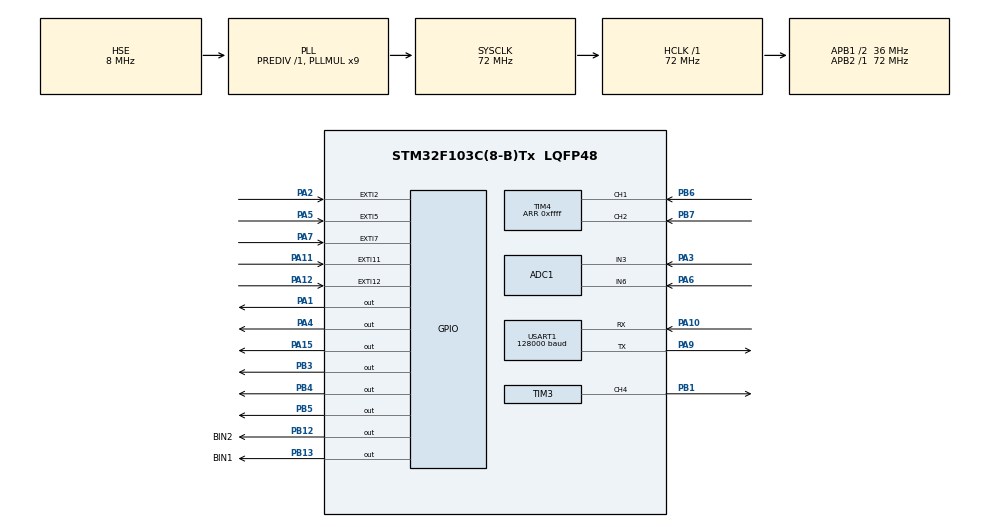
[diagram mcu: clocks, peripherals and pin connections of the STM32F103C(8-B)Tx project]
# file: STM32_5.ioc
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Mcu.Family=STM32F1
PA2.GPIO_PuPd=GPIO_PULLUP
Dma.USART1_TX.2.Direction=DMA_MEMORY_TO_PERIPH
ADC1.Rank-14\#ChannelRegularConversion=5
NVIC.DMA1_Channel5_IRQn=true\:0\:0\:false\:false\:true\:false\:true
ADC1.ContinuousConvMode=ENABLE
ADC1.Channel-17\#ChannelRegularConversion=ADC_CHANNEL_3
USART1.BaudRate=128000
USART1.WordLength=WORDLENGTH_8B
TIM4.EncoderMode=TIM_ENCODERMODE_TI12
ADC1.Rank-17\#ChannelRegularConversion=8
ADC1.SamplingTime-21\#ChannelRegularConversion=ADC_SAMPLETIME_239CYCLES_5
NVIC.TIM1_UP_IRQn=true\:0\:0\:true\:false\:true\:true\:true
PA12.GPIO_ModeDefaultEXTI=GPIO_MODE_IT_FALLING
ADC1.SamplingTime-24\#ChannelRegularConversion=ADC_SAMPLETIME_239CYCLES_5
PB13.GPIO_Label=BIN1
ADC1.SamplingTime-12\#ChannelRegularConversion=ADC_SAMPLETIME_239CYCLES_5
PB13.Signal=GPIO_Output
ADC1.Channel-14\#ChannelRegularConversion=ADC_CHANNEL_3
TIM3.Channel-PWM\ Generation4\ CH4=TIM_CHANNEL_4
TIM4.TIM_MasterOutputTrigger=TIM_TRGO_UPDATE
RCC.SYSCLKSource=RCC_SYSCLKSOURCE_PLLCLK
ProjectManager.StackSize=0x400
PD1-OSC_OUT.Signal=RCC_OSC_OUT
PA12.Signal=GPXTI12
TIM1.Prescaler=7199
ADC1.Rank-23\#ChannelRegularConversion=14
ADC1.Rank-11\#ChannelRegularConversion=2
RCC.HCLKFreq_Value=72000000
SH.ADCx_IN3.0=ADC1_IN3,IN3
RCC.APB2TimFreq_Value=72000000
TIM3.Period=7199
PB6.Signal=S_TIM4_CH1
Dma.ADC1.0.Direction=DMA_PERIPH_TO_MEMORY
ADC1.Rank-21\#ChannelRegularConversion=12
Dma.USART1_RX.1.MemInc=DMA_MINC_ENABLE
Dma.ADC1.0.MemDataAlignment=DMA_MDATAALIGN_WORD
RCC.AHBFreq_Value=72000000
NVIC.EXTI15_10_IRQn=true\:2\:0\:true\:false\:true\:true\:true
Dma.USART1_RX.1.PeriphDataAlignment=DMA_PDATAALIGN_BYTE
ADC1.Rank-20\#ChannelRegularConversion=11
RCC.PLLMUL=RCC_PLL_MUL9
PB12.GPIO_Label=BIN2
PC14-OSC32_IN.Mode=LSE-External-Oscillator
ADC1.Channel-19\#ChannelRegularConversion=ADC_CHANNEL_3
PA14.Mode=Serial_Wire
TIM3.Prescaler=0
PA5.GPIO_PuPd=GPIO_PULLUP
ADC1.Rank-19\#ChannelRegularConversion=10
Dma.ADC1.0.PeriphInc=DMA_PINC_DISABLE
SH.S_TIM4_CH2.0=TIM4_CH2,Encoder_Interface
Dma.USART1_TX.2.PeriphDataAlignment=DMA_PDATAALIGN_BYTE
PB7.Signal=S_TIM4_CH2
TIM4.Period=0xffff
Dma.USART1_TX.2.MemDataAlignment=DMA_MDATAALIGN_BYTE
ADC1.Channel-15\#ChannelRegularConversion=ADC_CHANNEL_3
VP_TIM1_VS_ClockSourceINT.Mode=Internal
ADC1.Rank-15\#ChannelRegularConversion=6
Dma.USART1_RX.1.Mode=DMA_CIRCULAR
ADC1.SamplingTime-23\#ChannelRegularConversion=ADC_SAMPLETIME_239CYCLES_5
Mcu.Package=LQFP48
ADC1.SamplingTime-11\#ChannelRegularConversion=ADC_SAMPLETIME_239CYCLES_5
PB1.Signal=S_TIM3_CH4
PA6.Signal=ADCx_IN6
ADC1.Channel-23\#ChannelRegularConversion=ADC_CHANNEL_3
ADC1.SamplingTime-13\#ChannelRegularConversion=ADC_SAMPLETIME_239CYCLES_5
TIM4.IC1Polarity=TIM_ICPOLARITY_RISING
ADC1.Channel-11\#ChannelRegularConversion=ADC_CHANNEL_6
PA10.Signal=USART1_RX
PA15.Signal=GPIO_Output
ADC1.SamplingTime-17\#ChannelRegularConversion=ADC_SAMPLETIME_239CYCLES_5
ADC1.Channel-21\#ChannelRegularConversion=ADC_CHANNEL_3
TIM4.IC1Filter=8
Dma.USART1_RX.1.PeriphInc=DMA_PINC_DISABLE
ADC1.SamplingTime-15\#ChannelRegularConversion=ADC_SAMPLETIME_239CYCLES_5
SH.S_TIM4_CH1.0=TIM4_CH1,Encoder_Interface
Dma.Request2=USART1_TX
Dma.Request1=USART1_RX
RCC.APB1TimFreq_Value=72000000
TIM1.Period=49
Dma.USART1_RX.1.Priority=DMA_PRIORITY_LOW
NVIC.DMA1_Channel4_IRQn=true\:0\:0\:false\:false\:true\:false\:true
NVIC.USART1_IRQn=true\:0\:0\:false\:false\:true\:true\:true
PA12.GPIO_PuPd=GPIO_PULLUP
Dma.Request0=ADC1
PB4.Signal=GPIO_Output
ADC1.SamplingTime-19\#ChannelRegularConversion=ADC_SAMPLETIME_239CYCLES_5
PA3.Signal=ADCx_IN3
ADC1.Channel-10\#ChannelRegularConversion=ADC_CHANNEL_3
RCC.PLLSourceVirtual=RCC_PLLSOURCE_HSE
PC15-OSC32_OUT.Mode=LSE-External-Oscillator
Dma.USART1_RX.1.Instance=DMA1_Channel5
PA5.GPIO_ModeDefaultEXTI=GPIO_MODE_IT_FALLING
TIM4.AutoReloadPreload=TIM_AUTORELOAD_PRELOAD_ENABLE
Dma.ADC1.0.Instance=DMA1_Channel1
Dma.USART1_RX.1.MemDataAlignment=DMA_MDATAALIGN_BYTE
ADC1.Rank-22\#ChannelRegularConversion=13
PD1-OSC_OUT.Mode=HSE-External-Oscillator
TIM4.CounterMode=TIM_COUNTERMODE_DOWN
PA10.Mode=Asynchronous
ADC1.Rank-10\#ChannelRegularConversion=1
Dma.USART1_TX.2.MemInc=DMA_MINC_ENABLE
TIM3.AutoReloadPreload=TIM_AUTORELOAD_PRELOAD_ENABLE
ADC1.SamplingTime-16\#ChannelRegularConversion=ADC_SAMPLETIME_239CYCLES_5
SH.ADCx_IN6.0=ADC1_IN6,IN6
ADC1.Channel-22\#ChannelRegularConversion=ADC_CHANNEL_3
ADC1.Rank-18\#ChannelRegularConversion=9
PA7.GPIO_ModeDefaultEXTI=GPIO_MODE_IT_FALLING
ADC1.DiscontinuousConvMode=DISABLE
TIM4.IC2Filter=8
PD0-OSC_IN.Signal=RCC_OSC_IN
TIM4.TIM_MasterSlaveMode=TIM_MASTERSLAVEMODE_DISABLE
ADC1.Channel-13\#ChannelRegularConversion=ADC_CHANNEL_3
ADC1.SamplingTime-25\#ChannelRegularConversion=ADC_SAMPLETIME_239CYCLES_5
RCC.APB1CLKDivider=RCC_HCLK_DIV2
PC14-OSC32_IN.Signal=RCC_OSC32_IN
ADC1.Channel-25\#ChannelRegularConversion=ADC_CHANNEL_3
ADC1.Rank-25\#ChannelRegularConversion=16
RCC.ADCPresc=RCC_ADCPCLK2_DIV6
PA13.Signal=SYS_JTMS-SWDIO
TIM1.AutoReloadPreload=TIM_AUTORELOAD_PRELOAD_ENABLE
ADC1.Rank-13\#ChannelRegularConversion=4
Dma.ADC1.0.PeriphDataAlignment=DMA_PDATAALIGN_WORD
PA9.Mode=Asynchronous
ProjectManager.TargetToolchain=STM32CubeIDE
ADC1.SamplingTime-20\#ChannelRegularConversion=ADC_SAMPLETIME_239CYCLES_5
Dma.ADC1.0.Mode=DMA_CIRCULAR
ADC1.Channel-18\#ChannelRegularConversion=ADC_CHANNEL_3
Dma.ADC1.0.Priority=DMA_PRIORITY_LOW
PA9.Signal=USART1_TX
USART1.Parity=PARITY_NONE
RCC.USBFreq_Value=72000000
PC15-OSC32_OUT.Signal=RCC_OSC32_OUT
PA1.Signal=GPIO_Output
PA7.GPIO_PuPd=GPIO_PULLUP
PD0-OSC_IN.Mode=HSE-External-Oscillator
PA5.Signal=GPXTI5
NVIC.TIM1_TRG_COM_IRQn=true\:0\:0\:true\:false\:true\:true\:true
board=custom
ADC1.Rank-12\#ChannelRegularConversion=3
ADC1.SamplingTime-14\#ChannelRegularConversion=ADC_SAMPLETIME_239CYCLES_5
ADC1.Channel-12\#ChannelRegularConversion=ADC_CHANNEL_3
RCC.APB2Freq_Value=72000000
ADC1.Channel-24\#ChannelRegularConversion=ADC_CHANNEL_3
ADC1.Channel-20\#ChannelRegularConversion=ADC_CHANNEL_3
Dma.USART1_TX.2.Priority=DMA_PRIORITY_MEDIUM
ADC1.Rank-24\#ChannelRegularConversion=15
ADC1.Channel-16\#ChannelRegularConversion=ADC_CHANNEL_3
ADC1.SamplingTime-22\#ChannelRegularConversion=ADC_SAMPLETIME_239CYCLES_5
ADC1.SamplingTime-10\#ChannelRegularConversion=ADC_SAMPLETIME_239CYCLES_5
ADC1.NbrOfConversion=16
PA13.Mode=Serial_Wire
Mcu.Name=STM32F103C(8-B)Tx
PA2.Signal=GPXTI2
Dma.USART1_TX.2.PeriphInc=DMA_PINC_DISABLE
PB3.Signal=GPIO_Output
PA4.Signal=GPIO_Output
RCC.SYSCLKFreq_VALUE=72000000
ADC1.Rank-16\#ChannelRegularConversion=7
PB5.Signal=GPIO_Output
ADC1.master=1
USART1.VirtualMode=VM_ASYNC
PA11.Signal=GPXTI11
NVIC.EXTI9_5_IRQn=true\:2\:0\:true\:false\:true\:true\:true
PA14.Signal=SYS_JTCK-SWCLK
Dma.ADC1.0.MemInc=DMA_MINC_ENABLE
ProjectManager.HeapSize=0x200
Dma.USART1_TX.2.Mode=DMA_NORMAL
PA2.GPIO_ModeDefaultEXTI=GPIO_MODE_IT_FALLING
NVIC.PriorityGroup=NVIC_PRIORITYGROUP_4
ADC1.NbrOfConversionFlag=1
Dma.USART1_TX.2.Instance=DMA1_Channel4
ADC1.EnableRegularConversion=ENABLE
Dma.USART1_RX.1.Direction=DMA_PERIPH_TO_MEMORY
NVIC.DMA1_Channel1_IRQn=true\:0\:0\:false\:false\:true\:false\:true
NVIC.TIM4_IRQn=true\:0\:0\:false\:false\:true\:true\:true
RCC.APB1Freq_Value=36000000
ADC1.SamplingTime-18\#ChannelRegularConversion=ADC_SAMPLETIME_239CYCLES_5
PB12.Signal=GPIO_Output
SH.S_TIM3_CH4.0=TIM3_CH4,PWM Generation4 CH4
PA7.Signal=GPXTI7

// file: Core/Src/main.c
/* USER CODE BEGIN Header */
/**
  ******************************************************************************
  *
  * 			CONTROL DE UN PÉNDULO INVERTIDO CIRCULAR USANDO EL
  * 					MICROCONTROLADOR STM32F103C8
  *
  ******************************************************************************
  */
/* USER CODE END Header */
#include "main.h"

/* USER CODE BEGIN Includes */
#include "oled.h"
#include "math.h"
/* USER CODE END Includes */

/* USER CODE BEGIN PD */
#define TIPO_CONTROL 1
#define LIMITE_ANGULO 700		// Angulo a partir del cual conmuta el control
#define LIMITE_GIRO 350
#define LIMITE_PWM 6000 		// Valor máximo de PWM sobre 7200 (12V).
#define LIMITE_VOLTAJE 1100		// Valor mínimo de voltaje del motor 1110 (11V)
#define Ts 0.005				// Periodo de muestreo
/* USER CODE END PD */

ADC_HandleTypeDef hadc1;
DMA_HandleTypeDef hdma_adc1;

TIM_HandleTypeDef htim1;
TIM_HandleTypeDef htim3;
TIM_HandleTypeDef htim4;

UART_HandleTypeDef huart1;
DMA_HandleTypeDef hdma_usart1_rx;
DMA_HandleTypeDef hdma_usart1_tx;

/* USER CODE BEGIN PV */

/* Parámetros del controlador formado por dos PD */
// Todas las K están multiplicadas por 7200 y divididas por 12
float KP_Pos = 61, //141, //25*1040/360
		KD_Pos = 50, //43, //600*1040/360 * 0.0250 = 15*1040/360;
		KP_Bal = 692, //592, //50*2134/180
		KD_Bal = 20.2; //14.4; //244*0.005 *2134/180 = 1.22*2134/180;
float Ki_Pos = 0;
float p_angulo = 0, p_posicion = 0.8;
/* Parámetros del controlador de realimentación de estados*/
// Todas las K están multiplicadas por 7200 y divididas por 12
float Ki = 100, K1 = 101, K3 = 46, K2 = 682, K4 = 18.2;
float param_filtro_pos = 0.956, param_filtro_ang =0;
float referencia = 0, referencia_local=0, referencia_externa=0;

/* Parámetros de configuración del controlador desde la pantalla
 	 - Menu: 		Indica la pantalla
 	 - Amplitude1: 	Incremento del valor de KP_Bal
 	 - Amplitude2: 	Incremento del valor de KD_Bal
 	 - Amplitude3:  Incremento del valor de KP_Pos
 	 - Amplitude4:  Incremento del valor de KD_Bal	*/
uint8_t Menu=1, Amplitude1=1, Amplitude2=1, Amplitude3=1, Amplitude4=1;

/* Parametros que indican el modo actual*/
uint8_t Tipo_ref;	// Indica si se aplica una rampa o un escalón
uint8_t Cuenta_diez_periodos =0;		// Cuenta si se ha repetido 10 veces Ts
uint16_t Cuenta_un_segundo;		// Cuenta si se ha repetido 1000 veces Ts
uint16_t Cuenta_cinco_segundos = 1000;// Cuenta si se ha repetido 5000 veces Ts
uint16_t VERTICAL = 3055;	// Angulo de la posición vertical
uint16_t INFERIOR;			// Angulo de la posición horizontal
uint8_t SWING_PRIMERO = 0, ORIGEN_REF = 1;
uint8_t Flag_control_motor, Flag_swing_up;	// Indican el modo de control

/* Señales medidas */
uint32_t valores_ADC[32];
float angulo_f, posicion_f, voltaje_f;

/* Señal de salida */
float PWM_motor;

/* Para la comunicación el ordenador */
float acc_integral;
float velocidad_1;
float velocidad_2;
uint8_t rxBuffer [8];
uint8_t txBuffer[29];

/* USER CODE END PV */

void SystemClock_Config(void);
static void MX_GPIO_Init(void);
static void MX_DMA_Init(void);
static void MX_USART1_UART_Init(void);
static void MX_TIM3_Init(void);
static void MX_TIM4_Init(void);
static void MX_TIM1_Init(void);
static void MX_ADC1_Init(void);
/* USER CODE BEGIN PFP */

float control_dos_PID (float, float, float);
float control_realim_estados (float, float, float);
float swing_up (float, float);

float filtro_posicion (float, float);
float filtro_angulo (float, float);
float filtro_swing (float, float);
float filtro_voltaje (float, float);
float filtro_apaga (float, float);
float filtro_media_10 (float);
float filtro_media_5 (float);
float filtro_butterworth (float, float);
float filtro_butterworth_2 (float, float);
float filtro_roc (float, float);

void poner_PWM_motor (float);
uint8_t comprueba_limites_control(void);
uint8_t comprueba_limites_swing(void);

void envia_datos_serie (float, float, float, float, float, float, float);
int click_N_Double (uint8_t);
void key(void);
void oled_show(void);
float obtener_angulo(void);
float obtener_referencia(void);

/* USER CODE END PFP */

/* USER CODE BEGIN 0 */
void HAL_TIM_PeriodElapsedCallback (TIM_HandleTypeDef *htim)
{
	/**************************************************************************
	 * Función de servicio a la interrupción del temporizador 1
	 * Ejecucion periódica cada 5ms, que el periodo de muestreo.
	**************************************************************************/
	if (htim->Instance == TIM1) {
		// Esto solo es para distinguir la interrupción de otros temporizadores,
		// si estos tienen interrupción activada.
		// Leer el valor del encoder con Timer 4 (la posicion)
		// Te devuelve un int (se debe pasar a float)
		posicion_f = (float)__HAL_TIM_GET_COUNTER(&htim4);
		// Leer el voltaje de la batería con ADC1 (CANAL 6)
		// Hay que ordenar la conversión y después esperar a que termine

		// Como hay un divisor resistivo que hay en la placa R2=10K R3=1K
		// Hay que realizar el siguiente cálculo:  VBAT= VA6·(R2+R3)/R3
		voltaje_f= ((float)valores_ADC[1])*3.3*11*100/1.0/4096;
		voltaje_f= filtro_voltaje(voltaje_f,0.8);
		// Leer el angulo con ADC1 (CANAL 3): 5 muestras
		angulo_f = obtener_angulo();
		// Obtener la referencia de posicion: local o externa
		referencia = obtener_referencia();
		// CONTROL
		if (Flag_control_motor) {
	    	if (Cuenta_un_segundo < 300) {
				Cuenta_un_segundo++;
				// Durante este tiempo está en el control agresivo
	    	}
			if (Cuenta_cinco_segundos > 0) {
				Cuenta_cinco_segundos--;
			}
	    	else if(Cuenta_un_segundo==300) {
				param_filtro_pos = 0.956;
				param_filtro_ang = 0.8;
				Ki = 163;
				K1 = 101;
				K2 = 683;
				K3 = 46;
				K4 = 21.4;		//21.4 11.4
				// Cuando pase 1 segundo, vuelve al control suave
	    		Cuenta_un_segundo ++;
	    	}
	    	switch (TIPO_CONTROL) {
			case 0: {
				PWM_motor = control_dos_PID(referencia, posicion_f, angulo_f);
				break;
			}
			case 1: {
				PWM_motor = control_realim_estados(referencia, posicion_f,
						angulo_f);
			}
	    	}
			// Apaga motor y termina el control si el péndulo cae, o baja el
			// voltaje por debajo del límite.
			if (comprueba_limites_control())
				PWM_motor = 0;
			poner_PWM_motor (PWM_motor);
	    }

	    if (Flag_swing_up) {
	    	PWM_motor =swing_up(posicion_f, angulo_f);
			if (comprueba_limites_swing())
				PWM_motor = 0;
	    	poner_PWM_motor(PWM_motor);
	    }

	    // Comprueba si se ha activado el pulsador
	    key();
		// Cuenta el numero de veces que se repite TIM1 hasta llegar a 10 (50ms)
		Cuenta_diez_periodos++;
		//if (Cuenta_diez_periodos%2==0)

		// Envía señales al ordenador
		envia_datos_serie((posicion_f - 10000) * 360 / 1040,	// ch1
		referencia,					// ch2
				(angulo_f - VERTICAL) * 180 / 2134,		// ch3
						   (PWM_motor)*100.0/7200.0,	// ch4
				acc_integral,							// ch5
				velocidad_1,					// ch6
				velocidad_2);				// ch7
	}
}

float obtener_referencia(void) {
	/**************************************************************************
	 * Obtiene el valor de la referencia
	 **************************************************************************/
	float ref;
	if (ORIGEN_REF==1)	// Local
		ref = referencia_local;
	else if (ORIGEN_REF==2)	// Externa (desde el ordenador)
		ref = referencia_externa;
	return(ref);
}
float obtener_angulo(void){
	/**************************************************************************
	 * Obtiene el valor del ángulo a partir de la media de varias conversiones
	 * seguidas del ADC.
	 **************************************************************************/
	float angulo_medio=0;
	angulo_medio = ((float) (valores_ADC[0] + valores_ADC[2] + valores_ADC[3]
			+ valores_ADC[4] + valores_ADC[5] + valores_ADC[6] + valores_ADC[7]
			+ valores_ADC[8] + valores_ADC[9] + valores_ADC[10]
			+ valores_ADC[11] + valores_ADC[12] + valores_ADC[13]
			+ valores_ADC[14] + valores_ADC[15] + valores_ADC[16]
			+ valores_ADC[18] + valores_ADC[19] + valores_ADC[20]
			+ valores_ADC[21] + valores_ADC[22] + valores_ADC[23]
			+ valores_ADC[24] + valores_ADC[25] + valores_ADC[26]
			+ valores_ADC[27] + valores_ADC[28] + valores_ADC[29]
			+ valores_ADC[30] + valores_ADC[31])) / 30.0;
	return (angulo_medio);
}

float control_dos_PID(float ref, float posicion, float angulo)
{
	/**************************************************************************
	 * Realiza el control usando dos controladores PD aditivos, uno para la
	 * posición y otro para el ángulo.
	 **************************************************************************/
	// CONTROL CON 2 CONTROLADORES PD
	float Pa_k, Da_k;
	static float Pp_k, Dp_k, Ip_k, Ip_k_1;
	static float angulo_ant, posicion_bias, posicion_bias_ant;
	float uk;

	/* Inicializacion variables */
	static uint8_t flag_inicio=0;
	if (flag_inicio==0) {
			angulo_ant=angulo;
			posicion_bias_ant=posicion_bias;
			flag_inicio=1;
	}
	static uint8_t Cuenta_cinco_periodos=0;
	uint8_t REP = 5;

	/* Escalado de las señales para convertir a grados */
	angulo = (angulo-VERTICAL)*180/2134;
	posicion = (posicion-10000)*360/1040;

	/* ECUACION EN DIFERENCIAS DEL CONTROL DEL ANGULO (cada 5ms) */
	Pa_k = KP_Bal*(0-angulo);
	Da_k = (KD_Bal/Ts)*((0-angulo)-(0-angulo_ant));
	Da_k = filtro_angulo(Da_k, p_angulo);
	angulo_ant = angulo;

	/* ECUACIÓN EN DIFERENCIAS DEL CONTROL DE POSICION (cada 25ms) */
	if (++Cuenta_cinco_periodos>(REP-1)) {
		// Filtro paso bajo de primer orden para posición
		posicion_bias = filtro_posicion(posicion, p_posicion);
		Pp_k = KP_Pos * (ref - posicion_bias);
		Dp_k = (KD_Pos / (5 * Ts)) * (-posicion_bias + posicion_bias_ant);
		Ip_k = Ip_k_1 + Ki_Pos * (5 * Ts) * (ref - posicion);
		posicion_bias_ant = posicion_bias;
		Cuenta_cinco_periodos=0;
	}
	uk =  Pa_k+Da_k+Pp_k+Dp_k+Ip_k;

	/* Saturación y antiwindup */
	if (uk>LIMITE_PWM) {
		uk=LIMITE_PWM;
		Ip_k = Ip_k_1;
	}
	else if (uk<-LIMITE_PWM){
		uk=-LIMITE_PWM;
		Ip_k = Ip_k_1;
	}

	/* Actualizo valores anteriores */
	if (Cuenta_cinco_periodos==0)
		Ip_k_1=Ip_k;

	/* Para visualizacion */
	acc_integral = Ip_k;
	velocidad_1 = Dp_k/KD_Pos;
	velocidad_2 = Da_k/KD_Bal;
	return (uk);
}

float control_realim_estados (float ref, float posicion, float angulo) {
	/**************************************************************************
	 * Función que calcula el PWM que hay que aplicar usando la metodología
	 * de control por realimentación en variables de estado con un lazo
	 * externo para seguimiento de referencias con integrador
	 **************************************************************************/
	float x1_k, x2_k, x3_k, x4_k, e1_k, xf2_k, xf1_k, uk, vk;
	static float int_k_1, xf1_k_1, xf2_k_1;
	float int_k;
	static uint8_t flag_inicio=0;
	// Inicializacion variables
	if (flag_inicio==0) {
			xf1_k_1= (posicion-10000)*360/1040;
			xf2_k_1=(angulo - VERTICAL)*180/2134;
			int_k_1=0;
			flag_inicio=1;
	}

	/* Escalado de las variables */
	posicion = (posicion - 10000) * 360 / 1040;	// Convierte a grados
	angulo = (angulo - VERTICAL) * 180 / 2134;	// Convierte a grados
	x1_k=posicion;
	x2_k=angulo;

	/* Filtro para la posición del brazo */
	xf1_k = filtro_posicion(x1_k, param_filtro_pos);
	//xf1_k = filtro_butterworth(posicion,8);

	/* filtro para el ángulo del pendulo */
	xf2_k = filtro_angulo(x2_k, param_filtro_ang);
	//xf2_k = filtro_butterworth_2(angulo,70);
	e1_k = posicion-ref;

	/* Estimación de las velocidades */
	x3_k = (xf1_k-xf1_k_1)/Ts;
	x4_k = (xf2_k-xf2_k_1)/Ts;

	/* Ley de control */
	int_k = int_k_1-(Ki*Ts)*e1_k;
	vk = int_k-K1*x1_k-K2*x2_k-K3*x3_k-K4*x4_k;

	/* Saturación y antiwindup */
	if (vk>LIMITE_PWM) {
		uk=LIMITE_PWM;
		int_k=int_k_1;
	}
	else if (vk<-LIMITE_PWM){
		uk=-LIMITE_PWM;
		int_k=int_k_1;
	}
	else
		uk=vk;

	/* Actualizamos valores anteriores en memoria */
	xf1_k_1 = xf1_k;
	xf2_k_1 = xf2_k;
	int_k_1=int_k;

	/* Variables para visualizacion por el ordenador */
	acc_integral = int_k;
	velocidad_1 = x3_k;
	velocidad_2 = x4_k;
	return (uk);
}

float filtro_roc (float yk, float roc_max) {
	/**************************************************************************
	 * Aplica un filtro de limitación de razón de cambio máxima para PWM
	 **************************************************************************/
	static float yfk_1;
	float yfk;
	static uint8_t flag_inicio;

	// Inicializa los valores anteriores la primera llamada a la función
	if (flag_inicio==0) {
		yfk_1 = 0;
		flag_inicio =1;
	}

	if ((yk-yfk_1)>roc_max*Ts)
		yfk=yfk_1+roc_max*Ts;
	else if ((yk-yfk_1)<-roc_max*Ts)
		yfk=yfk_1-roc_max*Ts;
	else yfk=yk;
	yfk_1=yfk;
	return (yfk);
}

float filtro_posicion (float yk, float a) {
	/**************************************************************************
	 * Aplica un filtro de de orden 1  para la posición
	 **************************************************************************/
	static float yfk_1;
	float yfk;
	static uint8_t flag_inicio=0;

	// Inicializa los valores anteriores la primera llamada a la función
	if (flag_inicio==0) {
		yfk_1 = yk;
		flag_inicio =1;
	}
	// a = exp(-wc*Ts)	Frecuencia de corte del filtro
	yfk = a*yfk_1 + (1-a)*yk;
	yfk_1 =yfk;
	return (yfk);
}
float filtro_angulo (float yk, float a) {
	/**************************************************************************
	 * Aplica un filtro de de orden 1 para el ángulo
	 **************************************************************************/
	static float yfk_1;
	float yfk;
	static uint8_t flag_inicio=0;
	// Inicializa los valores anteriores la primera llamada a la función
	if (flag_inicio==0) {
		yfk_1 = yk;
		flag_inicio =1;
	}
	yfk = a*yfk_1 + (1-a)*yk;
	yfk_1 =yfk;
	return (yfk);
}
float filtro_swing (float yk, float a) {
	/**************************************************************************
	 * Aplica un filtro de de orden 1 para ángulo durante swing up
	 **************************************************************************/
	static float yfk_1;
	float yfk;
	static uint8_t flag_inicio=0;
	// Inicializa los valores anteriores la primera llamada a la función
	if (flag_inicio==0) {
		yfk_1 = yk;
		flag_inicio =1;
	}

	yfk = a*yfk_1 + (1-a)*yk;
	yfk_1 =yfk;

	return (yfk);
}
float filtro_voltaje (float yk, float a) {
	/**************************************************************************
	 * Aplica un filtro de de orden 1 para el voltaje
	 **************************************************************************/
	static float yfk_1;
	float yfk;
	static uint8_t flag_inicio=0;
	// Inicializa los valores anteriores la primera llamada a la función
	if (flag_inicio==0) {
		yfk_1 = yk;
		flag_inicio =1;
	}
	yfk = a*yfk_1 + (1-a)*yk;
	yfk_1 =yfk;
	return (yfk);
}
float filtro_apaga (float yk, float a) {
	/**************************************************************************
	 * Aplica un filtro de de orden 1 para ángulo durante la comprobación de
	 * los límites del control
	 **************************************************************************/
	static float yfk_1;
	float yfk;
	static uint8_t flag_inicio=0;
	// Inicializa los valores anteriores la primera llamada a la función
	if (flag_inicio==0) {
		yfk_1 = VERTICAL;
		flag_inicio =1;
	}

	yfk = a*yfk_1 + (1-a)*yk;
	yfk_1 =yfk;
	return (yfk);
}
float filtro_media_10 (float yk) {
	/**************************************************************************
	 * Aplica un filtro de media móvil de longitud M=10
	 **************************************************************************/
	static uint8_t flag_inicio=0;
	static float yk_1, yk_2, yk_3, yk_4, yk_5, yk_6, yk_7, yk_8, yk_9;
	float yfk;
	// Inicializa los valores anteriores la primera llamada a la función
	if (flag_inicio==0) {
		yk_1 = yk;	yk_2 = yk; yk_3 = yk; yk_4 = yk; yk_5 = yk;
		yk_6 = yk; yk_7 = yk; yk_8 = yk; yk_9 = yk;
		flag_inicio =1;
	}
	yfk = (yk+yk_1+yk_2+yk_3+yk_4+yk_5+yk_6+yk_7+yk_8+yk_9)/10;
	// Actualizo valores anteriores
	yk_1=yk;
	yk_2=yk_1;
	yk_3=yk_2;
	yk_4=yk_3;
	yk_5=yk_4;
	yk_6=yk_5;
	yk_7=yk_6;
	yk_8=yk_7;
	yk_9=yk_8;
	return (yfk);
}
float filtro_media_5 (float yk) {
	/**************************************************************************
	 * Aplica un filtro de media móvil de longitud M=5
	 **************************************************************************/
	static uint8_t flag_inicio=0;
	static float yk_1, yk_2, yk_3, yk_4;
	float yfk;
	// Inicializa los valores anteriores la primera llamada a la función
	if (flag_inicio==0) {
		yk_1 = yk;	yk_2 = yk; yk_3 = yk; yk_4 = yk;
		flag_inicio =1;
	}
	yfk = (yk+yk_1+yk_2+yk_3+yk_4)/5;
	// Actualizo valores anteriores
	yk_1=yk;
	yk_2=yk_1;
	yk_3=yk_2;
	yk_4=yk_3;
	return(yfk);
}
float filtro_butterworth (float yk, float wc) {
	/**************************************************************************
	 * Aplica un filtro butterworth de orden 1 paso bajo
	 *  Yf(s) = a/(s+a) -> analogico
	 *  yf(k) (2/T+a) + (2/T+a) + a·yk()
	 **************************************************************************/
	static float yfk_1=0, yk_1=0;
	float yfk, a;
	static uint8_t flag_inicio=0;
		// Inicializa los valores anteriores la primera llamada a la función
		if (flag_inicio==0) {
			yfk_1 = yk;
			flag_inicio =1;
		}
	//a=(2/Ts)*tan(wc*Ts/2);
	a=wc;
	yfk =-((a*Ts-2)/(a*Ts+2))*yfk_1 + (a*Ts/(a*Ts+2))*(yk+yk_1);
	yfk_1 =yfk;
	yk_1 = yk;
	return (yfk);
}
float filtro_butterworth_2 (float yk, float wc) {
	/**************************************************************************
	 * Aplica un filtro butterworth de orden 1 paso bajo
	 *  Yf(s) = a/(s+a) -> analogico
	 *  yf(k) (2/T+a) + (2/T+a) + a·yk()
	 **************************************************************************/
	static float yfk_1=0, yk_1=0;
	float yfk, a;
	static uint8_t flag_inicio=0;
		// Inicializa los valores anteriores la primera llamada a la función
		if (flag_inicio==0) {
			yfk_1 = yk;
			flag_inicio =1;
		}
	//a=(2/Ts)*tan(wc*Ts/2);
	a=wc;
	yfk =-((a*Ts-2)/(a*Ts+2))*yfk_1 + (a*Ts/(a*Ts+2))*(yk+yk_1);
	yfk_1 =yfk;
	yk_1 = yk;
	return (yfk);
}
void poner_PWM_motor(float valor_pwm) {
	/**************************************************************************
	 * Cambia el valor del ciclo de trabajo de la señal PWM en función del
	 * valor de la entrada "valor_pwm"
	 **************************************************************************/

	// Señales del driver del motor:
	//	- PB12 = BIN2
	//  - PB13 = BIN1

	//static uint16_t valor_pwm_ant=0;
	uint16_t valor_pwm_abs;
	// Indica la dirección del motor
	if (valor_pwm>0) {
		valor_pwm_abs=valor_pwm;
		HAL_GPIO_WritePin(GPIOB, GPIO_PIN_12,0);		// BIN2 = 0;
		HAL_GPIO_WritePin(GPIOB, GPIO_PIN_13,1);		// BIN1 = 1;
	}
	else if (valor_pwm==0) {

		//HAL_GPIO_WritePin(GPIOB, GPIO_PIN_12,0);		// BIN2 = 0;
		//HAL_GPIO_WritePin(GPIOB, GPIO_PIN_13,0);		// BIN1 = 0;
		//HAL_GPIO_WritePin(GPIOB, GPIO_PIN_12,1);		// BIN2 = ~BIN2;
		//HAL_GPIO_WritePin(GPIOB, GPIO_PIN_13,1);		// BIN1 = ~BIN1;
		HAL_GPIO_TogglePin(GPIOB, GPIO_PIN_12);
		HAL_GPIO_TogglePin(GPIOB, GPIO_PIN_13);
		valor_pwm_abs=0;		// Es 0 y no 7199
	}
	else {
		valor_pwm_abs=-valor_pwm;
		HAL_GPIO_WritePin(GPIOB, GPIO_PIN_12, 1);		// BIN2 = 1;
		HAL_GPIO_WritePin(GPIOB, GPIO_PIN_13,0);		// BIN1 = 0;
	}
	// Colocar valor de PWM en el temporizador 3
	//__HAL_TIM_SET_COMPARE(&htim3,TIM_CHANNEL_4,valor_pwm_abs);
	TIM3->CCR4=valor_pwm_abs;
	//valor_pwm_ant = valor_pwm;
}
uint8_t comprueba_limites_swing(void)
/**************************************************************************
 * Indica si se ha salido de los límites de la posición durante el
 * swing up. En ese caso, devuelve 1 y termina swing up
 **************************************************************************/
{
	if ((posicion_f < (10000 + LIMITE_GIRO))
			&& (posicion_f > (10000 - LIMITE_GIRO)))
		return 0;
	else  {
		Flag_swing_up=0;
		return 1;

	}
}
uint8_t comprueba_limites_control(void) {
	/**************************************************************************
	 * Indica si se ha salido de los límites de posición, angulo o voltaje.
	 * En ese caso devuelve 1 y termina el control.
	 **************************************************************************/
	uint8_t temp; //variable que indica que se ha apagado el motor
	float ang_fil;
	ang_fil = filtro_apaga(angulo_f,0.8);
	if ((Flag_control_motor == 0) || (ang_fil < (VERTICAL - LIMITE_ANGULO))
			|| (ang_fil > (VERTICAL + LIMITE_ANGULO))
			|| (voltaje_f < LIMITE_VOLTAJE))
	{
		Flag_control_motor = 0;
		// Termina el control si cualquiera de las causas de antes se produjo
		temp=1;
	}
	else
		temp=0;
	return temp;
}

int click_N_Double(uint8_t time) {
	/**************************************************************************
	 * Determina si la patilla PA2 se ha pulsado 1 vez o dos veces.
	 * - Si se ha pulsado 1 vez, devuelve 1.
	 * - Si se ha pulsado 2 veces, devuelve 2.
	 * - Si no se ha pulsado, devuevle 0.
	 **************************************************************************/
	static uint8_t flag_key, count_key, double_key;
	static uint16_t count_single, Forever_count;
	uint8_t KEY2;
	KEY2 = HAL_GPIO_ReadPin(GPIOA, GPIO_PIN_2);	// Lee el valor de  PA2
	if (KEY2==0)				// La activación del botón es a nivel bajo 0
		Forever_count++;		// Cuenta el tiempo (se incrementa cada 5ms)
	else
		Forever_count=0;		// Se ha soltado el botón

	if ((0==KEY2)&&(0==flag_key))	flag_key=1;
	if (0==count_key) {
		if (flag_key==1) {
			double_key++;
			count_key=1;
		}
		if (double_key==2) {	// Se ha pulsado 2 veces el botón
			double_key=0;
			count_single=0;
			return 2;
		}
	}
	if (1==KEY2)	flag_key=0, count_key=0;	// Desactivación
	if (1==double_key)	{
		count_single++;
		if ((count_single>time) && (Forever_count<time))
		{
			double_key=0;
			count_single=0;
			return 1;			// Se ha pulsado 1 vez el botón
		}
		if (Forever_count>time)
		{
			double_key=0;
			count_single=0;
		}
	}
	return 0;
}

void key(void) {
	/**************************************************************************
	 * Comprueba la activación de PA2 y en ese caso aplica un cambio en la
	 * referencia de posición del péndulo, que puede ser:
	 * - Rampa
	 * - Escalón
	 **************************************************************************/
	float Position=2*360;	// Se puede poner cte

	//Target position The original position of the motor is 10000.
	// One turn is 1040. It is related to the accuracy of the encoder.
	//The default is that the swing lever Z-turn is one turn and the output is
	// 1040 jump edges.
	static int tmp, flag;
	static float count;
	// Determina si se ha pulsado 1 o 2 veces el botón (tmp=1 o tmp=2)
	tmp = click_N_Double (100);

	if (tmp==1) flag=1; //++
	if (tmp==2) flag=2; //--

	//  Cambio referencia escalón
	if (Tipo_ref==0) {
		if (flag==1)
		{
			referencia_local = referencia_local+90;
			flag=0;
		}
		if (flag==2)
		{
			referencia_local = referencia_local-90;
			flag=0;
		}
	}
	//  Cambio referencia rampa
	else {
		if (flag == 1)
		// El pendulo se mueve en las agujas del reloj
		{
			referencia_local = referencia_local + 1 * 360.0 / 1040;
			// Incrementa 1/1040 grados cada 5ms
			count=count+1*360.0/1040;
			if(count>Position) 	flag=0,count=0;
		}
		if (flag == 2)
		// El pendulo se mueve en sentido en las agujas del reloj
		{
			referencia_local=referencia_local-1*360.0/1040;
			count=count+1*360.0/1040;
			if (count>Position)	flag=0, count=0;
		}
	}
}

void oled_show(void) {
	/**************************************************************************
	 * Actualiza o refresca el contenido de la pantalla, en función del menu
	 * que se haya seleccionado.
	 **************************************************************************/
	OLED_ShowString(00,00,(uint8_t*)("PENDULO CIRCULAR"));
	switch (Menu) {
	case 1: {
		OLED_ShowString(0,20,(uint8_t*)("MENU:  SWING UP"));
		OLED_ShowString(0, 40, (uint8_t*) ("Prim swing="));
		OLED_ShowNumber(80, 40, SWING_PRIMERO, 3, 12);
		OLED_ShowChar(100, 40, '-', 12, 1);
		break;
	}
	case 2: {
		OLED_ShowString(0,20,(uint8_t*)("MENU:  CONTROL "));
		OLED_ShowString(0, 40, (uint8_t*) ("K1= "));
		OLED_ShowNumber(30, 40, K1, 3, 12);
		OLED_ShowChar(50, 40, '-', 12, 1);
		OLED_ShowString(0, 50, (uint8_t*) ("K2= "));
		OLED_ShowNumber(30, 50, K2, 3, 12);
		OLED_ShowString(70, 40, (uint8_t*) ("K3= "));
		OLED_ShowNumber(100, 40, K3, 3, 12);
		OLED_ShowString(70, 50, (uint8_t*) ("K4= "));
		OLED_ShowNumber(100, 50, K4, 3, 12);
		break;
	}
	case 3: {
		OLED_ShowString(0,20,(uint8_t*)("MENU:  CONTROL "));
		OLED_ShowString(0, 40, (uint8_t*) ("K1= "));
		OLED_ShowNumber(30, 40, K1, 3, 12);
		OLED_ShowString(0, 50, (uint8_t*) ("K2= "));
		OLED_ShowNumber(30, 50, K2, 3, 12);
		OLED_ShowChar(50, 50, '-', 12, 1);
		OLED_ShowString(70, 40, (uint8_t*) ("K3= "));
		OLED_ShowNumber(100, 40, K3, 3, 12);
		OLED_ShowString(70, 50, (uint8_t*) ("K4= "));
		OLED_ShowNumber(100, 50, K4, 3, 12);
		break;
	}
	case 4: {
		OLED_ShowString(0,20,(uint8_t*)("MENU:  CONTROL "));
		OLED_ShowString(0, 40, (uint8_t*) ("K1= "));
		OLED_ShowNumber(30, 40, K1, 3, 12);
		OLED_ShowString(0, 50, (uint8_t*) ("K2= "));
		OLED_ShowNumber(30, 50, K2, 3, 12);
		OLED_ShowString(70, 40, (uint8_t*) ("K3= "));
		OLED_ShowNumber(100, 40, K3, 3, 12);
		OLED_ShowChar(120, 40, '-', 12, 1);
		OLED_ShowString(70, 50, (uint8_t*) ("K4= "));
		OLED_ShowNumber(100, 50, K4, 3, 12);
		break;
	}
	case 5: {
		OLED_ShowString(0,20,(uint8_t*)("MENU:  CONTROL "));
		OLED_ShowString(0, 40, (uint8_t*) ("K1= "));
		OLED_ShowNumber(30, 40, K1, 3, 12);
		OLED_ShowString(0, 50, (uint8_t*) ("K2= "));
		OLED_ShowNumber(30, 50, K2, 3, 12);
		OLED_ShowString(70, 40, (uint8_t*) ("K3= "));
		OLED_ShowNumber(100, 40, K3, 3, 12);
		OLED_ShowString(70, 50, (uint8_t*) ("K4= "));
		OLED_ShowNumber(100, 50, K4, 3, 12);
		OLED_ShowChar(120, 50, '-', 12, 1);
		break;
	}
	case 6: {
			OLED_ShowString(0,20,(uint8_t*)("MENU:  CONTROL "));
		OLED_ShowString(0, 40, (uint8_t*) ("Ki= "));
		OLED_ShowNumber(30, 40, Ki, 3, 12);
		OLED_ShowChar(50, 40, '-', 12, 1);
			break;
		}
	case 7: {
		OLED_ShowString(0,20,(uint8_t*)("MENU: MEDIDAS 1"));
		OLED_ShowString(0, 40, (uint8_t*) ("Ang= "));
		OLED_ShowNumber(30, 40, (int32_t) angulo_f, 4, 12);
		OLED_ShowString(0, 50, (uint8_t*) ("Pos= "));
		OLED_ShowNumber(30, 50, (int32_t) posicion_f, 5, 12);
		OLED_ShowString(70, 40, (uint8_t*) ("Vol= "));
		OLED_ShowNumber(70, 50, (int32_t) voltaje_f / 100, 2, 12);
		OLED_ShowString(83,50,(uint8_t*)".");
		OLED_ShowNumber(93,50,((int)voltaje_f)%100,2,12);	// Parte decimal
		if(((int)voltaje_f)%100<10) 	OLED_ShowNumber(87,40,0,2,12);
		break;
	}
	case 8: {
		OLED_ShowString(0,20,(uint8_t*)("MENU: MEDIDAS 2"));
		if (velocidad_2>=0) {
			OLED_ShowString(0, 40, (uint8_t*) ("dA= "));
			OLED_ShowNumber(30, 40, (int32_t) (+velocidad_2), 5, 12);
			OLED_ShowString(25,40,(uint8_t*)"+");
		}
		else {
			OLED_ShowString(0, 40, (uint8_t*) ("dA= "));
			OLED_ShowNumber(30, 40, (int32_t) (-velocidad_2), 5, 12);
			OLED_ShowString(25,40,(uint8_t*)"-");
		}
		if (acc_integral>=0) {
			OLED_ShowString(70, 40, (uint8_t*) ("in= "));
			OLED_ShowNumber(95, 40, (int32_t) (+acc_integral), 5, 12);
			OLED_ShowString(95,40,(uint8_t*)"+");
		}
		else {
			OLED_ShowString(70, 40, (uint8_t*) ("in= "));
			OLED_ShowNumber(95, 40, (int32_t) (-acc_integral), 5, 12);
			OLED_ShowString(95,40,(uint8_t*)"-");
		}
		if (velocidad_1>=0) {
			OLED_ShowString(0, 50, (uint8_t*) ("dP= "));
			OLED_ShowNumber(30, 50, (int32_t) (+velocidad_1), 5, 12);
			OLED_ShowString(25,50,(uint8_t*)"+");
		}
		else {
			OLED_ShowString(0, 50, (uint8_t*) ("dP= "));
			OLED_ShowNumber(30, 50, (int32_t) (-velocidad_1), 5, 12);
			OLED_ShowString(25,50,(uint8_t*)"-");
		}
		break;
	}
	case 9: {
		OLED_ShowString(0,20,(uint8_t*)("MODO: REFERENCIA"));
		if (Tipo_ref==0) OLED_ShowString(0,30,(uint8_t*)("Tipo: Escalon"));
		else OLED_ShowString(0,30,(uint8_t*)("Tipo:   Rampa"));
		OLED_ShowChar(120,30,'-',12,1);
		if (ORIGEN_REF==1) OLED_ShowString(0,40,(uint8_t*)("Fuente: Local"));
		else OLED_ShowString(0,40,(uint8_t*)("Fuente: Exter"));
		OLED_ShowString(0, 50, (uint8_t*) ("P= "));
		OLED_ShowNumber(25, 50, (int32_t) posicion_f, 5, 12);
		OLED_ShowString(65, 50, (uint8_t*) ("R= "));
		OLED_ShowNumber(90, 50, (int32_t) referencia, 5, 12);
		break;
	}
	case 10: {
		OLED_ShowString(0,20,(uint8_t*)("MODO: REFERENCIA"));
		if (Tipo_ref==0) OLED_ShowString(0,30,(uint8_t*)("Tipo: Escalon"));
		else OLED_ShowString(0,30,(uint8_t*)("Tipo:   Rampa"));
		if (ORIGEN_REF==1) OLED_ShowString(0,40,(uint8_t*)("Fuente: Local"));
		else  OLED_ShowString(0,40,(uint8_t*)("Fuente: Exter"));
		OLED_ShowChar(120,40,'-',12,1);
		OLED_ShowString(0, 50, (uint8_t*) ("P= "));
		OLED_ShowNumber(25, 50, (int32_t) posicion_f, 5, 12);
		OLED_ShowString(65, 50, (uint8_t*) ("R= "));
		OLED_ShowNumber(90, 50, (int32_t) referencia, 5, 12);
		break;
	}
	}
	OLED_Refresh_Gram();
}

// INTERRUPCION POR PATILLA EXTERNA (FLANCO CAIDA)
void HAL_GPIO_EXTI_Callback(uint16_t GPIO_Pin) {
	/**************************************************************************
	 * Interrupción por activación de una patilla externa.
	 * Es común para todas las entradas, por lo que hay que distinguir cuál
	 * es la que se ha pulsado.
	 **************************************************************************/
	HAL_Delay(5);	// Espera 5ms a que acaben rebotes mecánicos.
	if ((GPIO_Pin==GPIO_PIN_5)||(HAL_GPIO_ReadPin(GPIOA, GPIO_PIN_5)==0))
	// Interrupcion por flanco bajada PA5 (También entran aqui por PB5 y PC5)
	// Activación/desactivación del swing-up o control automático
	{
		if (Flag_control_motor==0 && Flag_swing_up==0) {	// Si está apagado
			if (SWING_PRIMERO) {
				Flag_swing_up=1;
				referencia_local = 0;
				__HAL_TIM_SET_COUNTER (&htim4,10000);
			}
			else {
				Flag_control_motor=1;
				referencia_local = 0;
				__HAL_TIM_SET_COUNTER(&htim4, 10000);
				// Reinica a 10000 cuenta encoder
			}
		}
	}
	if ((GPIO_Pin==GPIO_PIN_7)||(HAL_GPIO_ReadPin(GPIOA, GPIO_PIN_7)==0))
	// Interrupcion por flanco bajada PA7
	{
		if (Menu==10) {	// Cambia el menu de la pantalla
			Menu=1;
		}
		else Menu++;
	}
	if ((GPIO_Pin==GPIO_PIN_11)||(HAL_GPIO_ReadPin(GPIOA, GPIO_PIN_11)==0))
	// Interrupcion por flanco bajada PA1
	{
		if (Menu==1)		SWING_PRIMERO =!SWING_PRIMERO;
		else if (Menu==2)		K1-=Amplitude1;	// Reducir valores PID
		else if (Menu==3)	K2-=Amplitude2;
		else if (Menu==4)	K3-=Amplitude3;
		else if (Menu==5)	K4-=Amplitude4;
		else if (Menu==6)	Ki-=1;
		else if (Menu==9)	Tipo_ref = !Tipo_ref;
		else if (Menu==10)	ORIGEN_REF = !ORIGEN_REF;
	}
	if ((GPIO_Pin==GPIO_PIN_12)||(HAL_GPIO_ReadPin(GPIOA, GPIO_PIN_12)==0))
	// Interrupcion por flanco bajada PA12
	{
		if (Menu==1)		SWING_PRIMERO =!SWING_PRIMERO;
		else if (Menu==2)	K1+=Amplitude1;	// Aumentar valores PID
		else if (Menu==3)	K2+=Amplitude2;
		else if (Menu==4)	K3+=Amplitude3;
		else if (Menu==5)	K4+=Amplitude4;
		else if (Menu==6)	Ki+=1;
		else if (Menu==9)	Tipo_ref = !Tipo_ref;
		else if (Menu==10)	ORIGEN_REF = !ORIGEN_REF;
	}
	if (K1<=0) KP_Bal=0;
	if (K2<=0) KD_Bal=0;
	if (K3<=0) KP_Pos=0;
	if (K4<=0) KD_Pos=0;
}

void envia_datos_serie(float dato1, float dato2, float dato3, float dato4,
		float dato5, float dato6, float dato7) {
	/**************************************************************************
	 * Envia señales de los sensores, referencia y PWM por el puerto serie
	 * para visualizarlos en el ordenador
	 **************************************************************************/
	// Envia datos al ordenador
	// Convierte los datos tipo float en 4 byes, que envía por
	// el puerto serie.
		  txBuffer [0] = '$';
		  txBuffer [1] = *((uint8_t*)(&dato1));
		  txBuffer [2] = *((uint8_t*)(&dato1)+1);
		  txBuffer [3] = *((uint8_t*)(&dato1)+2);
		  txBuffer [4] = *((uint8_t*)(&dato1)+3);
		  txBuffer [5] = *((uint8_t*)(&dato2));
		  txBuffer [6] = *((uint8_t*)(&dato2)+1);
		  txBuffer [7] = *((uint8_t*)(&dato2)+2);
		  txBuffer [8] = *((uint8_t*)(&dato2)+3);
		  txBuffer [9] =  *((uint8_t*)(&dato3));
		  txBuffer [10] = *((uint8_t*)(&dato3)+1);
		  txBuffer [11] = *((uint8_t*)(&dato3)+2);
		  txBuffer [12] = *((uint8_t*)(&dato3)+3);
		  txBuffer [13] = *((uint8_t*)(&dato4));
		  txBuffer [14] = *((uint8_t*)(&dato4)+1);
		  txBuffer [15] = *((uint8_t*)(&dato4)+2);
		  txBuffer [16] = *((uint8_t*)(&dato4)+3);
		  txBuffer [17] = *((uint8_t*)(&dato5));
		  txBuffer [18] = *((uint8_t*)(&dato5)+1);
		  txBuffer [19] = *((uint8_t*)(&dato5)+2);
		  txBuffer [20] = *((uint8_t*)(&dato5)+3);
		  txBuffer [21] = *((uint8_t*)(&dato6));
		  txBuffer [22] = *((uint8_t*)(&dato6)+1);
		  txBuffer [23] = *((uint8_t*)(&dato6)+2);
		  txBuffer [24] = *((uint8_t*)(&dato6)+3);
		  txBuffer [25] = *((uint8_t*)(&dato7));
		  txBuffer [26] = *((uint8_t*)(&dato7)+1);
		  txBuffer [27] = *((uint8_t*)(&dato7)+2);
		  txBuffer [28] = *((uint8_t*)(&dato7)+3);
	//HAL_UART_Transmit(&huart1, txBuffer, 29,1);	// Sin interrupciones
	HAL_UART_Transmit_DMA(&huart1, txBuffer, 29);	// Con interrupciones
}

float swing_up(float posicion, float angulo) {
	/**************************************************************************
	 * Función que realiza el procedimiento de levantamiento o swing up
	 **************************************************************************/
#define dist_1  -200
	static uint16_t etapa=0;
	static int PWM;

	switch (etapa) {
	case 0: {
		PWM = 5300;	// DERECHA
		if (((10000 + dist_1 - 100) < posicion)
				&& (posicion < (10000 + dist_1))) {
			etapa=1;
			PWM = 0;
		}
		break;
	}
	case 1:
	{
		PWM = -4800; // IZQUIERDA
		if(((VERTICAL-1000)<angulo)&&(angulo<(VERTICAL))){
		    PWM=3800; // DERECHA
		    etapa=2;
	    }
		break;
	}
	case 2:
	{
		if (((VERTICAL-400)<angulo)&&(angulo<VERTICAL))
			PWM=3000;
		if (((VERTICAL-100)<angulo)&&(angulo<(VERTICAL+100))){
			Flag_control_motor=1;
			Flag_swing_up=0;
			PWM=0;
			// CAMBIO LA REFERENCIA AL LUGAR DONDE SE HA CONSEGUIDO EL SWING UP
			referencia_local=(10000-10000)*360/1040;
			//referencia_local=(posicion_f-10000)*360/1040;
			referencia_externa=(10000-10000)*360/1040;
			//referencia_externa=(posicion_f-10000)*360/1040;
			// Reinicia  10000 cuenta encoder
			__HAL_TIM_SET_COUNTER(&htim4, 10000);

			etapa =0;
		}
		break;
	}
	}

	return (filtro_roc(PWM,120000));
}

// INTERRUPCIONES POR RECEPCIÓN O TRANSMISIÓN POR EL PUERTO SERIE
void HAL_UART_RxCpltCallback (UART_HandleTypeDef * huart) {
	/**************************************************************************
	 * Función asociada a una recepción de una trama de datos completa
	 **************************************************************************/
	uint8_t inicio=4;
	for (uint8_t i=0; i<4; i++) {
		if(rxBuffer[i]=='A')
			inicio = i;
	}
	if(inicio<3)
		referencia_externa =  *((int16_t*)(rxBuffer+inicio+1));
	else if (inicio==3)
		referencia_externa =  *((int16_t*)(rxBuffer));
	else
		referencia_externa = referencia; // No altera valor
}
void HAL_UART_TxCpltCallback (UART_HandleTypeDef * huart) {
	/**************************************************************************
	 * Función asociada al envío de una trama de datos completa
	 **************************************************************************/

}
/* USER CODE END 0 */

int main(void)
{
  /* USER CODE BEGIN 1 */
	static uint8_t Menu_ant=0;
  /* USER CODE END 1 */

  /* MCU Configuration--------------------------------------------------------*/

  /* Reset of all peripherals, Initializes the Flash interface and the Systick. */
  HAL_Init();

  /* Configure the system clock */
  SystemClock_Config();

  /* Initialize all configured peripherals */
  MX_GPIO_Init();
  MX_DMA_Init();
  MX_USART1_UART_Init();
  MX_TIM3_Init();
  MX_TIM4_Init();
  MX_TIM1_Init();
  MX_ADC1_Init();
  /* USER CODE BEGIN 2 */

  // Primero lee el valor del ángulo en la posición inferior.
  // A partir de este, determina el ángulo de la vertical.
  // Hay que activar el ADC:
  HAL_ADC_Start_DMA (&hadc1,valores_ADC,32);
  HAL_Delay(10);
  INFERIOR = valores_ADC[0];
  VERTICAL =INFERIOR+2134;

  // Configura el temporizador que lee el valor del encoder
	HAL_TIM_Encoder_Start_IT(&htim4, TIM_CHANNEL_ALL);
	// Comienza contaje encoder por  TEMP4
	__HAL_TIM_SET_COUNTER(&htim4, 10000);
	// Empieza en 10000 cuenta encoder
  __HAL_TIM_SET_CAPTUREPOLARITY(&htim4, TIM_CHANNEL_ALL,TIM_INPUTCHANNELPOLARITY_FALLING);
  HAL_TIM_Base_Start_IT(&htim1);

  // Comienza generación señal PWM por TEMP3
  HAL_TIM_PWM_Start(&htim3,TIM_CHANNEL_4);
  __HAL_TIM_SET_COMPARE(&htim3,TIM_CHANNEL_4,0);
  __HAL_TIM_SET_PRESCALER(&htim3, 0);

  // Inicializacion pantalla OLED
  OLED_Init();

  HAL_UART_Receive_DMA(&huart1, rxBuffer, 4);

  /* USER CODE END 2 */

  /* Infinite loop */
  /* USER CODE BEGIN WHILE */
  while (1)
  {
	  // Comprueba si ha cambiado el menu
	  if (Menu!=Menu_ant) {
		  // Limpia la pantalla para el siguiente menu
		  OLED_Clear();
		  Menu_ant = Menu;
	  }
	  // Actualiza pantalla
	  oled_show();

      // Cuenta el numero de veces que se repite TIM1 hasta llegar a 10 (50ms)
      while (Cuenta_diez_periodos < 10);
      Cuenta_diez_periodos = 0;

    /* USER CODE END WHILE */

  }
}

void SystemClock_Config(void)
{
  RCC_OscInitTypeDef RCC_OscInitStruct = {0};
  RCC_ClkInitTypeDef RCC_ClkInitStruct = {0};
  RCC_PeriphCLKInitTypeDef PeriphClkInit = {0};

  /** Initializes the RCC Oscillators according to the specified parameters
  * in the RCC_OscInitTypeDef structure.
  */
  RCC_OscInitStruct.OscillatorType = RCC_OSCILLATORTYPE_HSE;
  RCC_OscInitStruct.HSEState = RCC_HSE_ON;
  RCC_OscInitStruct.HSEPredivValue = RCC_HSE_PREDIV_DIV1;
  RCC_OscInitStruct.HSIState = RCC_HSI_ON;
  RCC_OscInitStruct.PLL.PLLState = RCC_PLL_ON;
  RCC_OscInitStruct.PLL.PLLSource = RCC_PLLSOURCE_HSE;
  RCC_OscInitStruct.PLL.PLLMUL = RCC_PLL_MUL9;
  if (HAL_RCC_OscConfig(&RCC_OscInitStruct) != HAL_OK)
  {
    Error_Handler();
  }
  /** Initializes the CPU, AHB and APB buses clocks
  */
  RCC_ClkInitStruct.ClockType = RCC_CLOCKTYPE_HCLK|RCC_CLOCKTYPE_SYSCLK
                              |RCC_CLOCKTYPE_PCLK1|RCC_CLOCKTYPE_PCLK2;
  RCC_ClkInitStruct.SYSCLKSource = RCC_SYSCLKSOURCE_PLLCLK;
  RCC_ClkInitStruct.AHBCLKDivider = RCC_SYSCLK_DIV1;
  RCC_ClkInitStruct.APB1CLKDivider = RCC_HCLK_DIV2;
  RCC_ClkInitStruct.APB2CLKDivider = RCC_HCLK_DIV1;

  if (HAL_RCC_ClockConfig(&RCC_ClkInitStruct, FLASH_LATENCY_2) != HAL_OK)
  {
    Error_Handler();
  }
  PeriphClkInit.PeriphClockSelection = RCC_PERIPHCLK_ADC;
  PeriphClkInit.AdcClockSelection = RCC_ADCPCLK2_DIV6;
  if (HAL_RCCEx_PeriphCLKConfig(&PeriphClkInit) != HAL_OK)
  {
    Error_Handler();
  }
}

static void MX_ADC1_Init(void)
{

  ADC_ChannelConfTypeDef sConfig = {0};

  /** Common config
  */
  hadc1.Instance = ADC1;
  hadc1.Init.ScanConvMode = ADC_SCAN_ENABLE;
  hadc1.Init.ContinuousConvMode = ENABLE;
  hadc1.Init.DiscontinuousConvMode = DISABLE;
  hadc1.Init.ExternalTrigConv = ADC_SOFTWARE_START;
  hadc1.Init.DataAlign = ADC_DATAALIGN_RIGHT;
  hadc1.Init.NbrOfConversion = 16;
  if (HAL_ADC_Init(&hadc1) != HAL_OK)
  {
    Error_Handler();
  }
  /** Configure Regular Channel
  */
  sConfig.Channel = ADC_CHANNEL_3;
  sConfig.Rank = ADC_REGULAR_RANK_1;
  sConfig.SamplingTime = ADC_SAMPLETIME_239CYCLES_5;
  if (HAL_ADC_ConfigChannel(&hadc1, &sConfig) != HAL_OK)
  {
    Error_Handler();
  }
  /** Configure Regular Channel
  */
  sConfig.Channel = ADC_CHANNEL_6;
  sConfig.Rank = ADC_REGULAR_RANK_2;
  if (HAL_ADC_ConfigChannel(&hadc1, &sConfig) != HAL_OK)
  {
    Error_Handler();
  }
  /** Configure Regular Channel
  */
  sConfig.Channel = ADC_CHANNEL_3;
  sConfig.Rank = ADC_REGULAR_RANK_3;
  if (HAL_ADC_ConfigChannel(&hadc1, &sConfig) != HAL_OK)
  {
    Error_Handler();
  }
  /** Configure Regular Channel
  */
  sConfig.Rank = ADC_REGULAR_RANK_4;
  if (HAL_ADC_ConfigChannel(&hadc1, &sConfig) != HAL_OK)
  {
    Error_Handler();
  }
  /** Configure Regular Channel
  */
  sConfig.Rank = ADC_REGULAR_RANK_5;
  if (HAL_ADC_ConfigChannel(&hadc1, &sConfig) != HAL_OK)
  {
    Error_Handler();
  }
  /** Configure Regular Channel
  */
  sConfig.Rank = ADC_REGULAR_RANK_6;
  if (HAL_ADC_ConfigChannel(&hadc1, &sConfig) != HAL_OK)
  {
    Error_Handler();
  }
  /** Configure Regular Channel
  */
  sConfig.Rank = ADC_REGULAR_RANK_7;
  if (HAL_ADC_ConfigChannel(&hadc1, &sConfig) != HAL_OK)
  {
    Error_Handler();
  }
  /** Configure Regular Channel
  */
  sConfig.Rank = ADC_REGULAR_RANK_8;
  if (HAL_ADC_ConfigChannel(&hadc1, &sConfig) != HAL_OK)
  {
    Error_Handler();
  }
  /** Configure Regular Channel
  */
  sConfig.Rank = ADC_REGULAR_RANK_9;
  if (HAL_ADC_ConfigChannel(&hadc1, &sConfig) != HAL_OK)
  {
    Error_Handler();
  }
  /** Configure Regular Channel
  */
  sConfig.Rank = ADC_REGULAR_RANK_10;
  if (HAL_ADC_ConfigChannel(&hadc1, &sConfig) != HAL_OK)
  {
    Error_Handler();
  }
  /** Configure Regular Channel
  */
  sConfig.Rank = ADC_REGULAR_RANK_11;
  if (HAL_ADC_ConfigChannel(&hadc1, &sConfig) != HAL_OK)
  {
    Error_Handler();
  }
  /** Configure Regular Channel
  */
  sConfig.Rank = ADC_REGULAR_RANK_12;
  if (HAL_ADC_ConfigChannel(&hadc1, &sConfig) != HAL_OK)
  {
    Error_Handler();
  }
  /** Configure Regular Channel
  */
  sConfig.Rank = ADC_REGULAR_RANK_13;
  if (HAL_ADC_ConfigChannel(&hadc1, &sConfig) != HAL_OK)
  {
    Error_Handler();
  }
  /** Configure Regular Channel
  */
  sConfig.Rank = ADC_REGULAR_RANK_14;
  if (HAL_ADC_ConfigChannel(&hadc1, &sConfig) != HAL_OK)
  {
    Error_Handler();
  }
  /** Configure Regular Channel
  */
  sConfig.Rank = ADC_REGULAR_RANK_15;
  if (HAL_ADC_ConfigChannel(&hadc1, &sConfig) != HAL_OK)
  {
    Error_Handler();
  }
  /** Configure Regular Channel
  */
  sConfig.Rank = ADC_REGULAR_RANK_16;
  if (HAL_ADC_ConfigChannel(&hadc1, &sConfig) != HAL_OK)
  {
    Error_Handler();
  }

}

static void MX_TIM1_Init(void)
{

  TIM_ClockConfigTypeDef sClockSourceConfig = {0};
  TIM_MasterConfigTypeDef sMasterConfig = {0};

  htim1.Instance = TIM1;
  htim1.Init.Prescaler = 7199;
  htim1.Init.CounterMode = TIM_COUNTERMODE_UP;
  htim1.Init.Period = 49;
  htim1.Init.ClockDivision = TIM_CLOCKDIVISION_DIV1;
  htim1.Init.RepetitionCounter = 0;
  htim1.Init.AutoReloadPreload = TIM_AUTORELOAD_PRELOAD_ENABLE;
  if (HAL_TIM_Base_Init(&htim1) != HAL_OK)
  {
    Error_Handler();
  }
  sClockSourceConfig.ClockSource = TIM_CLOCKSOURCE_INTERNAL;
  if (HAL_TIM_ConfigClockSource(&htim1, &sClockSourceConfig) != HAL_OK)
  {
    Error_Handler();
  }
  sMasterConfig.MasterOutputTrigger = TIM_TRGO_RESET;
  sMasterConfig.MasterSlaveMode = TIM_MASTERSLAVEMODE_DISABLE;
  if (HAL_TIMEx_MasterConfigSynchronization(&htim1, &sMasterConfig) != HAL_OK)
  {
    Error_Handler();
  }

}

static void MX_TIM3_Init(void)
{

  TIM_MasterConfigTypeDef sMasterConfig = {0};
  TIM_OC_InitTypeDef sConfigOC = {0};

  htim3.Instance = TIM3;
  htim3.Init.Prescaler = 0;
  htim3.Init.CounterMode = TIM_COUNTERMODE_UP;
  htim3.Init.Period = 7199;
  htim3.Init.ClockDivision = TIM_CLOCKDIVISION_DIV1;
  htim3.Init.AutoReloadPreload = TIM_AUTORELOAD_PRELOAD_ENABLE;
  if (HAL_TIM_PWM_Init(&htim3) != HAL_OK)
  {
    Error_Handler();
  }
  sMasterConfig.MasterOutputTrigger = TIM_TRGO_RESET;
  sMasterConfig.MasterSlaveMode = TIM_MASTERSLAVEMODE_DISABLE;
  if (HAL_TIMEx_MasterConfigSynchronization(&htim3, &sMasterConfig) != HAL_OK)
  {
    Error_Handler();
  }
  sConfigOC.OCMode = TIM_OCMODE_PWM1;
  sConfigOC.Pulse = 0;
  sConfigOC.OCPolarity = TIM_OCPOLARITY_HIGH;
  sConfigOC.OCFastMode = TIM_OCFAST_DISABLE;
  if (HAL_TIM_PWM_ConfigChannel(&htim3, &sConfigOC, TIM_CHANNEL_4) != HAL_OK)
  {
    Error_Handler();
  }
  HAL_TIM_MspPostInit(&htim3);

}

static void MX_TIM4_Init(void)
{

  TIM_Encoder_InitTypeDef sConfig = {0};
  TIM_MasterConfigTypeDef sMasterConfig = {0};

  htim4.Instance = TIM4;
  htim4.Init.Prescaler = 0;
  htim4.Init.CounterMode = TIM_COUNTERMODE_DOWN;
  htim4.Init.Period = 0xffff;
  htim4.Init.ClockDivision = TIM_CLOCKDIVISION_DIV1;
  htim4.Init.AutoReloadPreload = TIM_AUTORELOAD_PRELOAD_ENABLE;
  sConfig.EncoderMode = TIM_ENCODERMODE_TI12;
  sConfig.IC1Polarity = TIM_ICPOLARITY_RISING;
  sConfig.IC1Selection = TIM_ICSELECTION_DIRECTTI;
  sConfig.IC1Prescaler = TIM_ICPSC_DIV1;
  sConfig.IC1Filter = 8;
  sConfig.IC2Polarity = TIM_ICPOLARITY_RISING;
  sConfig.IC2Selection = TIM_ICSELECTION_DIRECTTI;
  sConfig.IC2Prescaler = TIM_ICPSC_DIV1;
  sConfig.IC2Filter = 8;
  if (HAL_TIM_Encoder_Init(&htim4, &sConfig) != HAL_OK)
  {
    Error_Handler();
  }
  sMasterConfig.MasterOutputTrigger = TIM_TRGO_UPDATE;
  sMasterConfig.MasterSlaveMode = TIM_MASTERSLAVEMODE_DISABLE;
  if (HAL_TIMEx_MasterConfigSynchronization(&htim4, &sMasterConfig) != HAL_OK)
  {
    Error_Handler();
  }

}

static void MX_USART1_UART_Init(void)
{

  huart1.Instance = USART1;
  huart1.Init.BaudRate = 128000;
  huart1.Init.WordLength = UART_WORDLENGTH_8B;
  huart1.Init.StopBits = UART_STOPBITS_1;
  huart1.Init.Parity = UART_PARITY_NONE;
  huart1.Init.Mode = UART_MODE_TX_RX;
  huart1.Init.HwFlowCtl = UART_HWCONTROL_NONE;
  huart1.Init.OverSampling = UART_OVERSAMPLING_16;
  if (HAL_UART_Init(&huart1) != HAL_OK)
  {
    Error_Handler();
  }

}

static void MX_DMA_Init(void)
{

  /* DMA controller clock enable */
  __HAL_RCC_DMA1_CLK_ENABLE();

  /* DMA interrupt init */
  /* DMA1_Channel1_IRQn interrupt configuration */
  HAL_NVIC_SetPriority(DMA1_Channel1_IRQn, 0, 0);
  HAL_NVIC_EnableIRQ(DMA1_Channel1_IRQn);
  /* DMA1_Channel4_IRQn interrupt configuration */
  HAL_NVIC_SetPriority(DMA1_Channel4_IRQn, 0, 0);
  HAL_NVIC_EnableIRQ(DMA1_Channel4_IRQn);
  /* DMA1_Channel5_IRQn interrupt configuration */
  HAL_NVIC_SetPriority(DMA1_Channel5_IRQn, 0, 0);
  HAL_NVIC_EnableIRQ(DMA1_Channel5_IRQn);

}

static void MX_GPIO_Init(void)
{
  GPIO_InitTypeDef GPIO_InitStruct = {0};

  /* GPIO Ports Clock Enable */
  __HAL_RCC_GPIOC_CLK_ENABLE();
  __HAL_RCC_GPIOD_CLK_ENABLE();
  __HAL_RCC_GPIOA_CLK_ENABLE();
  __HAL_RCC_GPIOB_CLK_ENABLE();

  /*Configure GPIO pin Output Level */
  HAL_GPIO_WritePin(GPIOA, GPIO_PIN_1|GPIO_PIN_4|GPIO_PIN_15, GPIO_PIN_RESET);

  /*Configure GPIO pin Output Level */
  HAL_GPIO_WritePin(GPIOB, BIN2_Pin|BIN1_Pin|GPIO_PIN_3|GPIO_PIN_4
                          |GPIO_PIN_5, GPIO_PIN_RESET);

  /*Configure GPIO pins : PA1 PA4 PA15 */
  GPIO_InitStruct.Pin = GPIO_PIN_1|GPIO_PIN_4|GPIO_PIN_15;
  GPIO_InitStruct.Mode = GPIO_MODE_OUTPUT_PP;
  GPIO_InitStruct.Pull = GPIO_NOPULL;
  GPIO_InitStruct.Speed = GPIO_SPEED_FREQ_LOW;
  HAL_GPIO_Init(GPIOA, &GPIO_InitStruct);

  /*Configure GPIO pins : PA2 PA5 PA7 PA12 */
  GPIO_InitStruct.Pin = GPIO_PIN_2|GPIO_PIN_5|GPIO_PIN_7|GPIO_PIN_12;
  GPIO_InitStruct.Mode = GPIO_MODE_IT_FALLING;
  GPIO_InitStruct.Pull = GPIO_PULLUP;
  HAL_GPIO_Init(GPIOA, &GPIO_InitStruct);

  /*Configure GPIO pins : BIN2_Pin BIN1_Pin PB3 PB4
                           PB5 */
  GPIO_InitStruct.Pin = BIN2_Pin|BIN1_Pin|GPIO_PIN_3|GPIO_PIN_4
                          |GPIO_PIN_5;
  GPIO_InitStruct.Mode = GPIO_MODE_OUTPUT_PP;
  GPIO_InitStruct.Pull = GPIO_NOPULL;
  GPIO_InitStruct.Speed = GPIO_SPEED_FREQ_LOW;
  HAL_GPIO_Init(GPIOB, &GPIO_InitStruct);

  /*Configure GPIO pin : PA11 */
  GPIO_InitStruct.Pin = GPIO_PIN_11;
  GPIO_InitStruct.Mode = GPIO_MODE_IT_RISING;
  GPIO_InitStruct.Pull = GPIO_NOPULL;
  HAL_GPIO_Init(GPIOA, &GPIO_InitStruct);

  /* EXTI interrupt init*/
  HAL_NVIC_SetPriority(EXTI9_5_IRQn, 2, 0);
  HAL_NVIC_EnableIRQ(EXTI9_5_IRQn);

  HAL_NVIC_SetPriority(EXTI15_10_IRQn, 2, 0);
  HAL_NVIC_EnableIRQ(EXTI15_10_IRQn);

}

void Error_Handler(void)
{
}

/************************ (C) COPYRIGHT STMicroelectronics *****END OF FILE****/
